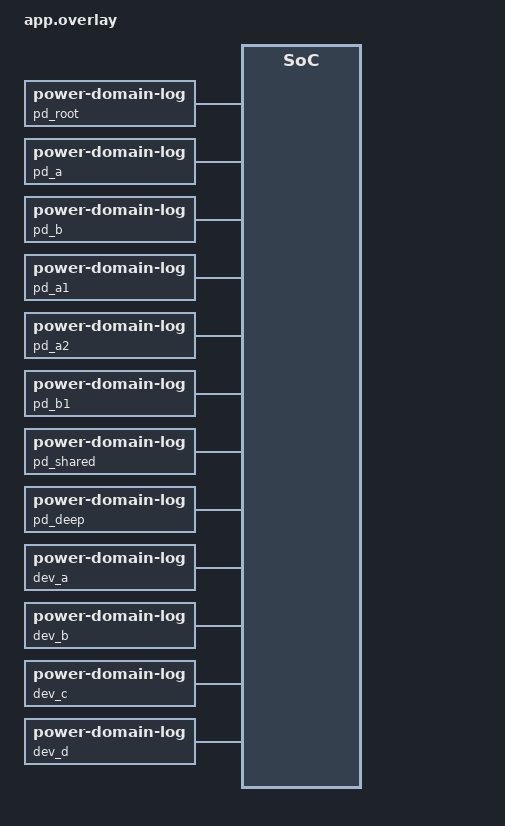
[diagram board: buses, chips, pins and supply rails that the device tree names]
/*
 * Copyright (c) 2026 Rodrigo Peixoto <rodrigopex@gmail.com>
 *
 * SPDX-License-Identifier: Apache-2.0
 *
 * Power domain dependency tree exercised by the sample (see the README for a
 * diagram):
 *   - pd_root powers pd_a and pd_b.
 *   - pd_a powers pd_a1 and pd_a2; pd_b powers pd_b1.
 *   - pd_shared depends on both pd_a and pd_b; pd_deep depends on pd_shared.
 *   - dev_a on pd_a1; dev_b on pd_a2 and pd_b1; dev_c on pd_deep;
 *     dev_d on pd_a1 and pd_deep (dev_b and dev_d depend on two domains).
 *
 * Every node sets "zephyr,pm-device-runtime-auto" so runtime PM is enabled
 * automatically at boot; the application only has to get/put the leaf devices.
 */

/ {
	pd_root: pd_root {
		compatible = "zephyr,power-domain-log";
		status = "okay";
		#power-domain-cells = <0>;
		zephyr,pm-device-runtime-auto;
	};

	pd_a: pd_a {
		compatible = "zephyr,power-domain-log";
		status = "okay";
		#power-domain-cells = <0>;
		power-domains = <&pd_root>;
		zephyr,pm-device-runtime-auto;
	};

	pd_b: pd_b {
		compatible = "zephyr,power-domain-log";
		status = "okay";
		#power-domain-cells = <0>;
		power-domains = <&pd_root>;
		zephyr,pm-device-runtime-auto;
	};

	pd_a1: pd_a1 {
		compatible = "zephyr,power-domain-log";
		status = "okay";
		#power-domain-cells = <0>;
		power-domains = <&pd_a>;
		zephyr,pm-device-runtime-auto;
	};

	pd_a2: pd_a2 {
		compatible = "zephyr,power-domain-log";
		status = "okay";
		#power-domain-cells = <0>;
		power-domains = <&pd_a>;
		zephyr,pm-device-runtime-auto;
	};

	pd_b1: pd_b1 {
		compatible = "zephyr,power-domain-log";
		status = "okay";
		#power-domain-cells = <0>;
		power-domains = <&pd_b>;
		zephyr,pm-device-runtime-auto;
	};

	/* Depends on two parent domains at once. */
	pd_shared: pd_shared {
		compatible = "zephyr,power-domain-log";
		status = "okay";
		#power-domain-cells = <0>;
		power-domains = <&pd_a &pd_b>;
		zephyr,pm-device-runtime-auto;
	};

	pd_deep: pd_deep {
		compatible = "zephyr,power-domain-log";
		status = "okay";
		#power-domain-cells = <0>;
		power-domains = <&pd_shared>;
		zephyr,pm-device-runtime-auto;
	};

	dev_a: dev_a {
		compatible = "zephyr,power-domain-log";
		status = "okay";
		power-domains = <&pd_a1>;
		zephyr,pm-device-runtime-auto;
	};

	dev_b: dev_b {
		compatible = "zephyr,power-domain-log";
		status = "okay";
		power-domains = <&pd_a2 &pd_b1>;
		zephyr,pm-device-runtime-auto;
	};

	dev_c: dev_c {
		compatible = "zephyr,power-domain-log";
		status = "okay";
		power-domains = <&pd_deep>;
		zephyr,pm-device-runtime-auto;
	};

	dev_d: dev_d {
		compatible = "zephyr,power-domain-log";
		status = "okay";
		power-domains = <&pd_a1 &pd_deep>;
		zephyr,pm-device-runtime-auto;
	};
};
